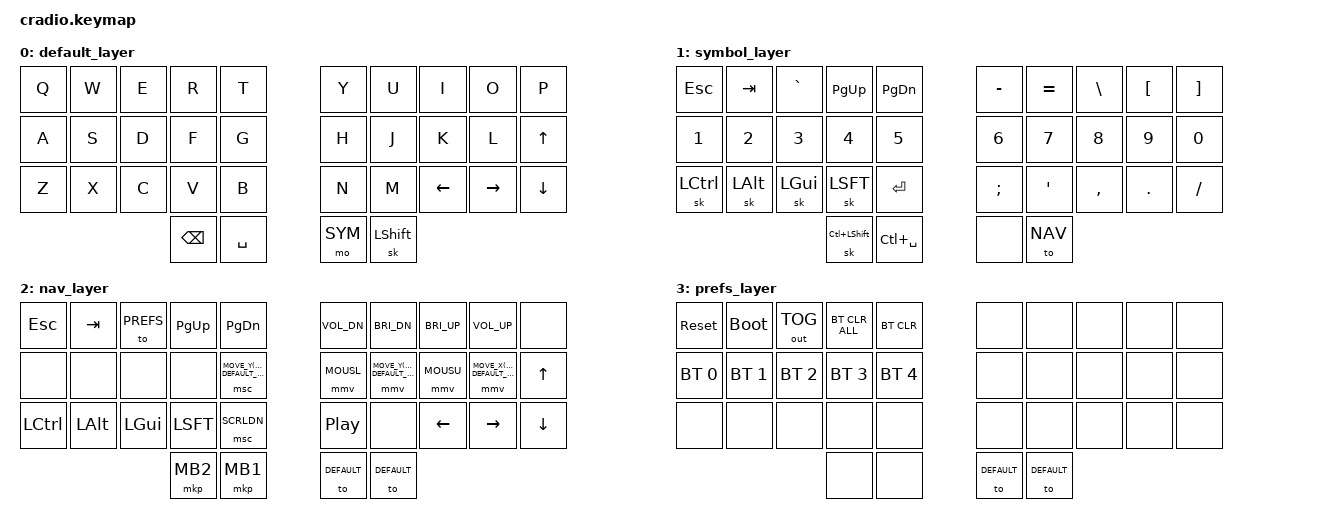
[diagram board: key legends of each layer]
// Copyright (c) 2022 The ZMK Contributors
// SPDX-License-Identifier: MIT

#include <behaviors.dtsi>
#include <behaviors/mouse_keys.dtsi>
#include <dt-bindings/zmk/keys.h>
#include <dt-bindings/zmk/bt.h>
#include <dt-bindings/zmk/outputs.h>

#define ZMK_POINTING_DEFAULT_MOVE_VAL 3000  // default: 600
#define ZMK_POINTING_DEFAULT_SCRL_VAL 25    // default: 10

#include <dt-bindings/zmk/pointing.h>
 

#define DEFAULT 0
#define SYM 1
#define NAV 2
#define PREFS 3


#define  MOUSU  MOVE_Y(-ZMK_POINTING_DEFAULT_MOVE_VAL)
#define  MOUSL  MOVE_X(-ZMK_POINTING_DEFAULT_MOVE_VAL)
#define  MOUSD  MOVE_Y(ZMK_POINTING_DEFAULT_MOVE_VAL)
#define  MOUSR  MOVE_X(ZMK_POINTING_DEFAULT_MOVE_VAL)
#define  SCRLUP MOVE_Y(ZMK_POINTING_DEFAULT_SCRL_VAL)
#define  SCRLDN MOVE_Y(-ZMK_POINTING_DEFAULT_SCRL_VAL)

&mmv {
	time-to-max-speed-ms=<500>;
};

&msc {
	time-to-max-speed-ms=<500>;
};

/ {
    keymap {
        compatible = "zmk,keymap";
        default_layer {
            bindings = <
        //╭──────────┬──────────┬──────────┬──────────┬──────────╮   ╭──────────┬──────────┬──────────┬──────────┬──────────╮
        //│  Q       │  W       │  E       │  R       │  T       │   │  Y       │  U       │  I       │  O       │  P       │
            &kp Q      &kp W      &kp E      &kp R      &kp T          &kp Y      &kp U      &kp I      &kp O      &kp P
        //├──────────┼──────────┼──────────┼──────────┼──────────┤   ├──────────┼──────────┼──────────┼──────────┼──────────┤
        //│  A       │  S       │  D       │  F       │  G       │   │  H       │  J       │  K       │  L       │  UP      │
            &kp A      &kp S      &kp D      &kp F      &kp G          &kp H      &kp J      &kp K      &kp L      &kp UP
        //├──────────┼──────────┼──────────┼──────────┼──────────┤   ├──────────┼──────────┼──────────┼──────────┼──────────┤
        //│  Z       │  X       │  C       │  V       │  B       │   │  N       │  M       │  LEFT    │  RIGHT   │  DOWN    │
            &kp Z      &kp X      &kp C      &kp V      &kp B          &kp N      &kp M      &kp LEFT   &kp RIGHT  &kp DOWN
        //╰──────────┴──────────┴──────────┼──────────┼──────────┤   ├──────────┼──────────┼──────────┴──────────┴──────────╯
        //				   │ bksp     │ space	 │   │ mo(sym)	│ OSM shift│
                                             &kp BSPC   &kp SPACE      &mo SYM    &sk LSHFT
        //                                 ╰──────────┴──────────╯   ╰──────────┴──────────╯
            >;
        };

        symbol_layer {
            bindings = <
        //╭──────────┬──────────┬──────────┬──────────┬──────────╮   ╭──────────┬──────────┬──────────┬──────────┬──────────╮
        //│  Escape  │  Tab     │  `/~     │  Page Up │  Page Dn │   │  -/_     │  =/+     │  \/|     │ [/{      │ ]/}      │
            &kp ESC    &kp TAB    &kp GRAVE  &kp PG_UP  &kp PG_DN      &kp MINUS  &kp EQUAL  &kp BSLH  &kp LBKT    &kp RBKT
        //├──────────┼──────────┼──────────┼──────────┼──────────┤   ├──────────┼──────────┼──────────┼──────────┼──────────┤
        //│  1/!     │  2/@     │  3/#     │  4/$     │  5/%     │   │  6/^     │  7/&     │  8/*     │  9/(     │  0/)     │
            &kp N1     &kp N2     &kp N3     &kp N4      &kp N5        &kp N6     &kp N7     &kp N8     &kp N9     &kp N0
        //├──────────┼──────────┼──────────┼──────────┼──────────┤   ├──────────┼──────────┼──────────┼──────────┼──────────┤ 
        //│ OSM CTRL │ OSM ALT  │ OSM CMD  │ OSM SHIFT│  ENTER   │   │  ;/:     │  '/"     │  ,/<     │  ./>     │  //?     │
            &sk LCTRL  &sk LALT   &sk LGUI   &sk LSFT   &kp ENTER      &kp SEMI   &kp SQT    &kp COMMA  &kp DOT    &kp SLASH
        //╰──────────┴──────────┴──────────┼──────────┼──────────┤   ├──────────┼──────────┼──────────┴──────────┴──────────╯
        //				   │ Amethyst │ TMUX	 │   │ (held)	│ To nav   │
                                         &sk LC(LSHFT) &kp LC(SPACE)   &none      &to NAV
        //                                 ╰──────────┴──────────╯   ╰──────────┴──────────╯
            >;
        };

        nav_layer {
            bindings = <
        //╭──────────┬──────────┬──────────┬──────────┬──────────╮   ╭──────────┬──────────┬──────────┬──────────┬──────────╮
        //│  Escape  │  Tab     │ Settings │  Page Up │  Page Dn │   │  Vol -   │ Bright - │ Bright - │ Vol +    │ N/A      │
            &kp ESC    &kp TAB    &to PREFS &kp PG_UP  &kp PG_DN     &kp C_VOL_DN &kp C_BRI_DN &kp C_BRI_UP &kp C_VOL_UP &none
        //├──────────┼──────────┼──────────┼──────────┼──────────┤   ├──────────┼──────────┼──────────┼──────────┼──────────┤
        //│  N/A     │  N/A     │  N/A     │  N/A     │mwhl up   │   │mouse left│mouse down│mouse up  │mouse rght│ up       │
            &none      &none      &none      &none    &msc SCRLUP    &mmv MOUSL &mmv MOUSD &mmv MOUSU &mmv MOUSR &kp UP
        //├──────────┼──────────┼──────────┼──────────┼──────────┤   ├──────────┼──────────┼──────────┼──────────┼──────────┤
        //│ OSM CTRL │ OSM ALT  │ OSM CMD  │ OSM SHIFT│mwhl dn   │   │Play/Pause│  N/A     │ left     │ right    │ down     │
            &kp LCTRL  &kp LALT   &kp LGUI   &kp LSFT  &msc SCRLDN   &kp C_PP 	&none 	   &kp LEFT   &kp RIGHT  &kp DOWN
        //╰──────────┴──────────┴──────────┼──────────┼──────────┤   ├──────────┼──────────┼──────────┴──────────┴──────────╯
        //				   │ rclick   │ click    │   │ Home     │ Home     │
					     &mkp MB2   &mkp MB1     &to DEFAULT &to DEFAULT
        //                                 ╰──────────┴──────────╯   ╰──────────┴──────────╯
            >;
        };

	prefs_layer {
           bindings = <
        //╭──────────┬──────────┬──────────┬──────────┬──────────╮   ╭──────────┬──────────┬──────────┬──────────┬──────────╮
        //│  reset   │ bootload │ ble/usb  │BT clr all│ BT clear │   │  N/A     │  N/A     │  N/A     │  N/A     │  N/A     │
         &sys_reset &bootloader &out OUT_TOG &bt BT_CLR_ALL &bt BT_CLR     &none      &none      &none     &none       &none
        //├──────────┼──────────┼──────────┼──────────┼──────────┤   ├──────────┼──────────┼──────────┼──────────┼──────────┤
        //│  BT 0    │  BT 1    │  BT 2    │  BT 3    │  BT 4    │   │  N/A     │  N/A     │  N/A     │  N/A     │  N/A     │
     &bt BT_SEL 0 &bt BT_SEL 1 &bt BT_SEL 2 &bt BT_SEL 3 &bt BT_SEL 4 &none       &none       &none      &none       &none
        //├──────────┼──────────┼──────────┼──────────┼──────────┤   ├──────────┼──────────┼──────────┼──────────┼──────────┤
        //│  N/A     │  N/A     │  N/A     │  N/A     │  N/A     │   │  N/A     │  N/A     │  N/A     │  N/A     │  N/A     │
            &none      &none      &none      &none      &none          &none      &none      &none     &none       &none
        //╰──────────┴──────────┴──────────┼──────────┼──────────┤   ├──────────┼──────────┼──────────┴──────────┴──────────╯
        //				   │ N/A      │ N/A	 │   │ Home     │ Home     │
					     &none      &none        &to DEFAULT &to DEFAULT
        //                                 ╰──────────┴──────────╯   ╰──────────┴──────────╯
           >;
	};
    };
};
